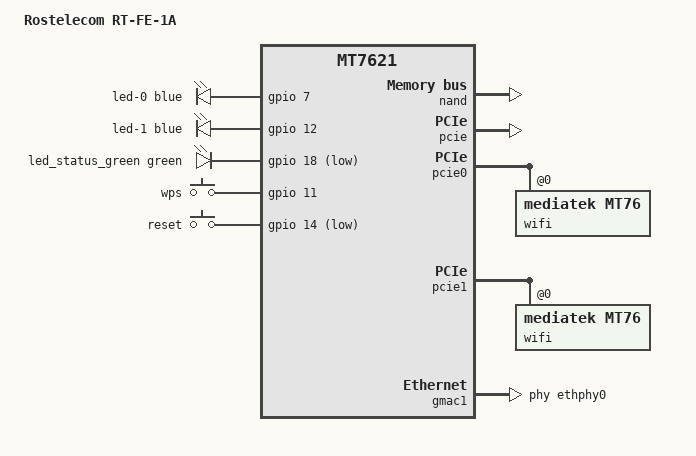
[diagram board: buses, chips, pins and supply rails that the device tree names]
// SPDX-License-Identifier: GPL-2.0-or-later OR MIT

#include "mt7621.dtsi"

#include <dt-bindings/gpio/gpio.h>
#include <dt-bindings/input/input.h>
#include <dt-bindings/leds/common.h>

/ {
	compatible = "rostelecom,rt-fe-1a", "mediatek,mt7621-soc";
	model = "Rostelecom RT-FE-1A";

	aliases {
		label-mac-device = &gmac0;

		led-boot = &led_status_green;
		led-failsafe = &led_status_green;
		led-running = &led_status_green;
		led-upgrade = &led_status_green;
	};

	leds {
		compatible = "gpio-leds";

		led-0 {
			color = <LED_COLOR_ID_BLUE>;
			function = LED_FUNCTION_WLAN;
			function-enumerator = <50>;
			gpios = <&gpio 7 GPIO_ACTIVE_HIGH>;
			linux,default-trigger = "phy1tpt";
		};

		led-1 {
			color = <LED_COLOR_ID_BLUE>;
			function = LED_FUNCTION_WLAN;
			function-enumerator = <24>;
			gpios = <&gpio 12 GPIO_ACTIVE_HIGH>;
			linux,default-trigger = "phy0tpt";
		};

		led_status_green: led-2 {
			color = <LED_COLOR_ID_GREEN>;
			function = LED_FUNCTION_STATUS;
			gpios = <&gpio 18 GPIO_ACTIVE_LOW>;
		};
	};

	keys {
		compatible = "gpio-keys";

		button-0 {
			label = "wps";
			gpios = <&gpio 11 GPIO_ACTIVE_HIGH>;
			linux,code = <KEY_WPS_BUTTON>;
		};

		button-1 {
			label = "reset";
			gpios = <&gpio 14 GPIO_ACTIVE_LOW>;
			linux,code = <KEY_RESTART>;
		};
	};

	ubi-concat {
		compatible = "mtd-concat";
		devices = <&ubiconcat0 &ubiconcat1 &ubiconcat2 \
			   &ubiconcat3>;

		partitions {
			compatible = "fixed-partitions";
			#address-cells = <1>;
			#size-cells = <1>;

			partition@0 {
				label = "ubi";
				reg = <0x0 0x5420000>;
			};
		};
	};
};

&nand {
	status = "okay";

	partitions {
		compatible = "sercomm,sc-partitions", "fixed-partitions";
		#address-cells = <1>;
		#size-cells = <1>;

		partition@0 {
			label = "u-boot";
			reg = <0x0 0x100000>;
			sercomm,scpart-id = <0>;
			read-only;
		};

		partition@100000 {
			label = "dynamic partition map";
			reg = <0x100000 0x100000>;
			sercomm,scpart-id = <1>;
			read-only;
		};

		partition@200000 {
			label = "Factory";
			reg = <0x200000 0x100000>;
			sercomm,scpart-id = <2>;
			read-only;

			nvmem-layout {
				compatible = "fixed-layout";
				#address-cells = <1>;
				#size-cells = <1>;

				eeprom_2g: eeprom@0 {
					reg = <0x0 0x400>;
				};

				eeprom_5g: eeprom@8000 {
					reg = <0x8000 0x4da8>;
				};

				macaddr_label: macaddr@21000 {
					compatible = "mac-base";
					reg = <0x21000 0x6>;
					#nvmem-cell-cells = <1>;
				};
			};
		};

		partition@300000 {
			label = "Boot Flag";
			reg = <0x300000 0x100000>;
			sercomm,scpart-id = <3>;
		};

		partition@400000 {
			label = "kernel";
			reg = <0x400000 0x600000>;
			sercomm,scpart-id = <4>;
		};

		partition@a00000 {
			label = "Kernel 2";
			reg = <0xa00000 0x600000>;
			sercomm,scpart-id = <5>;
			read-only;
		};

		ubiconcat0: partition@1000000 {
			label = "File System 1";
			reg = <0x1000000 0x1800000>;
			sercomm,scpart-id = <6>;
		};

		partition@2800000 {
			label = "File System 2";
			reg = <0x2800000 0x1800000>;
			sercomm,scpart-id = <7>;
			read-only;
		};

		ubiconcat1: partition@4000000 {
			label = "Configuration/log";
			reg = <0x4000000 0x800000>;
			sercomm,scpart-id = <8>;
		};

		ubiconcat2: partition@4800000 {
			label = "application tmp buffer (Ftool)";
			reg = <0x4800000 0xc00000>;
			sercomm,scpart-id = <9>;
		};

		ubiconcat3: partition@5400000 {
			label = "free space (in stock firmware)";
			reg = <0x5400000 0x2820000>;
			sercomm,scpart-id = <10>;
		};
	};
};

&pcie {
	status = "okay";
};

&pcie0 {
	wifi@0,0 {
		compatible = "mediatek,mt76";
		reg = <0x0000 0 0 0 0>;
		ieee80211-freq-limit = <5000000 6000000>;

		nvmem-cells = <&eeprom_5g>, <&macaddr_label 3>;
		nvmem-cell-names = "eeprom", "mac-address";

		led {
			led-active-low;
		};
	};
};

&pcie1 {
	wifi@0,0 {
		compatible = "mediatek,mt76";
		reg = <0x0000 0 0 0 0>;
		ieee80211-freq-limit = <2400000 2500000>;

		nvmem-cells = <&eeprom_2g>, <&macaddr_label 2>;
		nvmem-cell-names = "eeprom", "mac-address";

		led {
			led-active-low;
		};
	};
};

&gmac0 {
	nvmem-cells = <&macaddr_label 0>;
	nvmem-cell-names = "mac-address";
};

&gmac1 {
	status = "okay";
	label = "wan";
	phy-handle = <&ethphy0>;

	nvmem-cells = <&macaddr_label 11>;
	nvmem-cell-names = "mac-address";
};

&ethphy0 {
	/delete-property/ interrupts;
};

&switch0 {
	ports {
		port@1 {
			status = "okay";
			label = "lan1";
		};

		port@2 {
			status = "okay";
			label = "lan2";
		};

		port@3 {
			status = "okay";
			label = "lan3";
		};

		port@4 {
			status = "okay";
			label = "lan4";
		};
	};
};

&state_default {
	gpio {
		groups = "jtag", "uart2", "uart3", "wdt";
		function = "gpio";
	};
};
